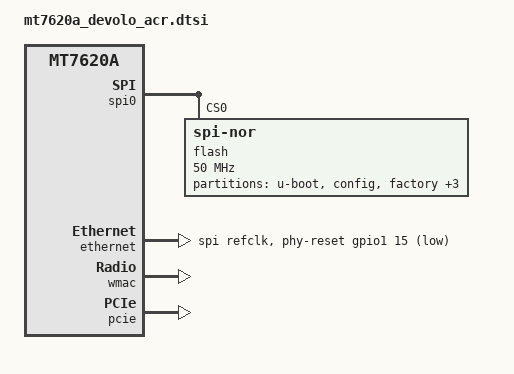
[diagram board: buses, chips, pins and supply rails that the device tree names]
#include "mt7620a.dtsi"

#include <dt-bindings/gpio/gpio.h>
#include <dt-bindings/input/input.h>
#include <dt-bindings/mtd/partitions/uimage.h>


&gpio1 {
	status = "okay";
};

&gpio2 {
	status = "okay";
};

&spi0 {
	status = "okay";

	flash@0 {
		compatible = "jedec,spi-nor";
		reg = <0>;
		spi-max-frequency = <50000000>;

		partitions {
			compatible = "fixed-partitions";
			#address-cells = <1>;
			#size-cells = <1>;

			partition@0 {
				label = "u-boot";
				reg = <0x0 0x30000>;
				read-only;
			};

			partition@30000 {
				label = "config";
				reg = <0x30000 0x10000>;
				read-only;
			};

			factory: partition@40000 {
				label = "factory";
				reg = <0x40000 0x10000>;
				read-only;
			};

			partition@50000 {
				compatible = "denx,uimage";
				label = "firmware";
				reg = <0x50000 0x790000>;
			};

			partition@7e0000 {
				label = "board_data";
				reg = <0x7e0000 0x10000>;
				read-only;
			};

			partition@7f0000 {
				label = "nvram";
				reg = <0x7f0000 0x10000>;
				read-only;
			};
		};
	};
};

&state_default {
	gpio {
		groups = "i2c", "uartf", "nd_sd", "rgmii2";
		function = "gpio";
	};
};

&pinctrl {
	phy_reset_pins: phy-reset {
		gpio {
			groups = "spi refclk";
			function = "gpio";
		};
	};
};

&ethernet {
	pinctrl-names = "default";
	pinctrl-0 = <&rgmii1_pins &mdio_pins &phy_reset_pins>;

	nvmem-cells = <&macaddr_factory_4>;
	nvmem-cell-names = "mac-address";

	phy-reset-gpios = <&gpio1 15 GPIO_ACTIVE_LOW>;
	phy-reset-duration = <30>;

	port@5 {
		status = "okay";
		mediatek,fixed-link = <1000 1 1 1>;
		phy-mode = "rgmii";
	};

	mdio-bus {
		status = "okay";

		phy0: ethernet-phy@0 {
			status = "disabled";
			reg = <0>;
			phy-mode = "rgmii";
		};

		phy1: ethernet-phy@1 {
			status = "disabled";
			reg = <1>;
			phy-mode = "rgmii";
		};

		phy2: ethernet-phy@2 {
			status = "disabled";
			reg = <2>;
			phy-mode = "rgmii";
		};

		phy3: ethernet-phy@3 {
			status = "disabled";
			reg = <3>;
			phy-mode = "rgmii";
		};

		phy4: ethernet-phy@4 {
			status = "disabled";
			reg = <4>;
			phy-mode = "rgmii";
		};
	};
};

&gsw {
	mediatek,ephy-base = /bits/ 8 <8>;
};

&wmac {
	ralink,mtd-eeprom = <&factory 0x0>;
	nvmem-cells = <&macaddr_factory_4>;
	nvmem-cell-names = "mac-address";
};

&pcie {
	status = "okay";
};

&pcie0 {
	wifi@0,0 {
		reg = <0x0000 0 0 0 0>;
		mediatek,mtd-eeprom = <&factory 0x8000>;
		ieee80211-freq-limit = <5000000 6000000>;
		nvmem-cells = <&macaddr_factory_4>;
		nvmem-cell-names = "mac-address";
		mac-address-increment = <2>;
	};
};

&factory {
	compatible = "nvmem-cells";
	#address-cells = <1>;
	#size-cells = <1>;

	macaddr_factory_4: macaddr@4 {
		reg = <0x4 0x6>;
	};
};

